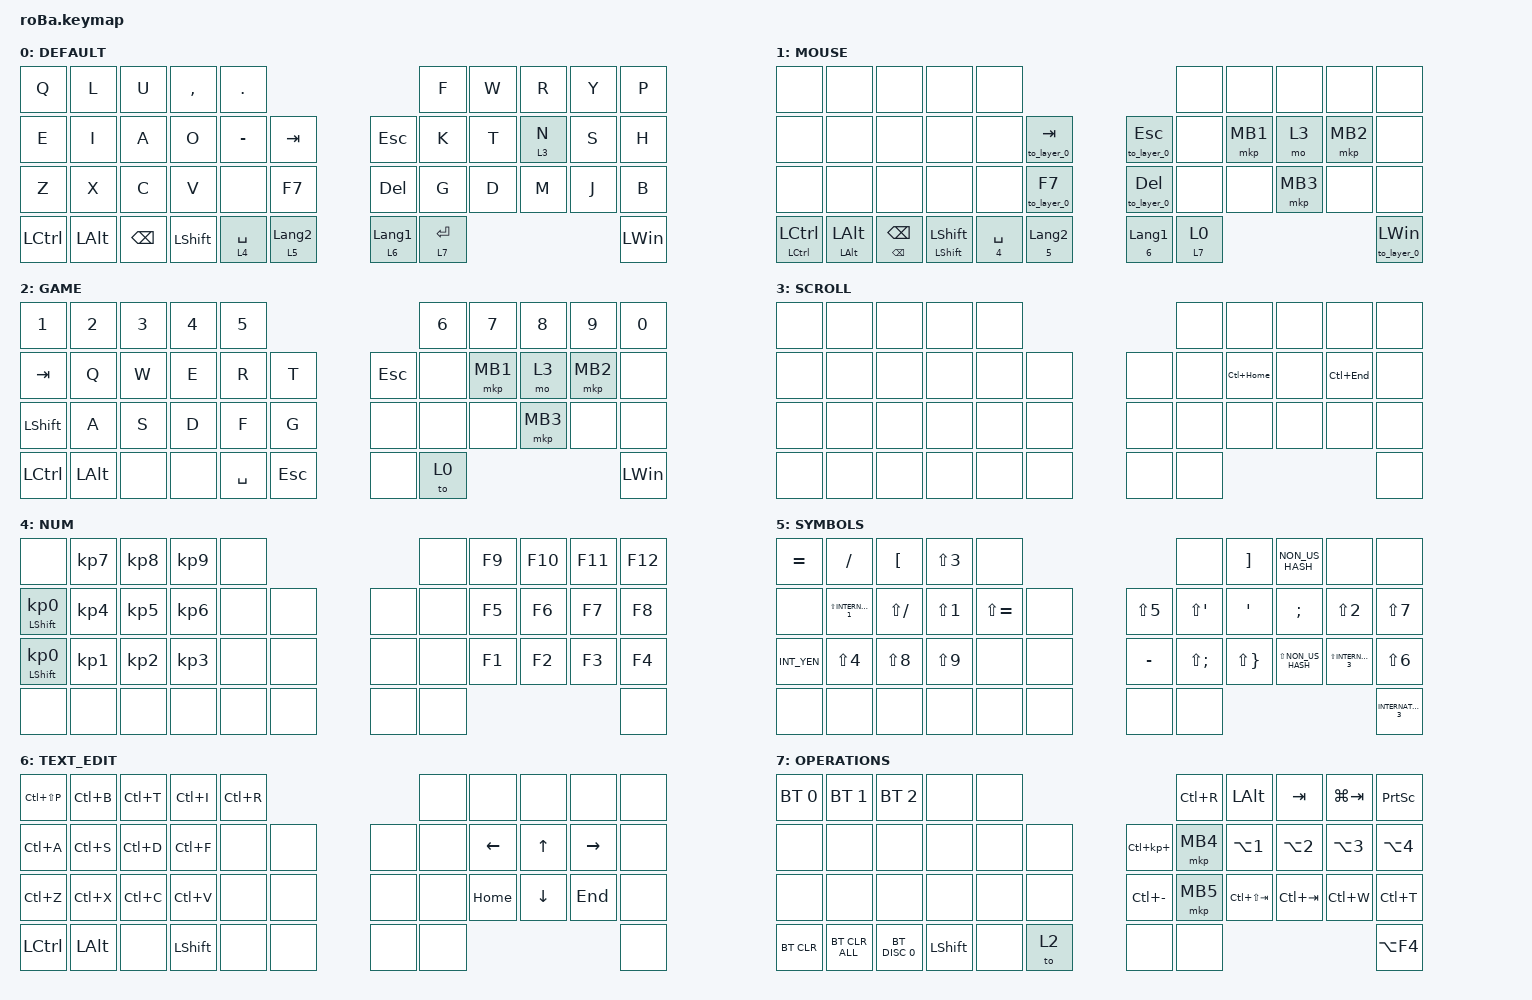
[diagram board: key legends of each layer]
#include <behaviors.dtsi>
#include <dt-bindings/zmk/bt.h>
#include <dt-bindings/zmk/keys.h>
#include <dt-bindings/zmk/pointing.h>

&mt {
    flavor = "balanced";
    quick-tap-ms = <0>;
};

&sl { release-after-ms = <150>; };

&trackball {
    automouse-layer = <1>;
    scroll-layers = <3>;
};

/ {
    combos { compatible = "zmk,combos"; };

    macros {
        to_layer_0: to_layer_0 {
            compatible = "zmk,behavior-macro-one-param";
            #binding-cells = <1>;
            bindings = <&to 0 &macro_param_1to1 &kp MACRO_PLACEHOLDER>;
            label = "TO_LAYER_0";
        };

        hold_key_to0: hold_key_to0 {
            compatible = "zmk,behavior-macro-one-param";
            #binding-cells = <1>;
            bindings =
                <&macro_press>,
                <&macro_param_1to1 &kp MACRO_PLACEHOLDER>,
                <&macro_pause_for_release>,
                <&macro_release>,
                <&macro_param_1to1 &kp MACRO_PLACEHOLDER &to 0>;

            label = "HOLD_KEY_TO0";
        };

        to_layer_and_back_to0: to_layer_and_back_to0 {
            compatible = "zmk,behavior-macro-two-param";
            #binding-cells = <2>;
            bindings =
                <&macro_param_1to1 &to MACRO_PLACEHOLDER>,
                <&macro_pause_for_release>,
                <&to 0>;
            label = "TO_LAYER_AND_BACK_TO0";
        };
    };

    behaviors {
        lt_to_layer_0: lt_to_layer_0 {
            compatible = "zmk,behavior-hold-tap";
            label = "LAYER_TAP_TO_0";
            bindings = <&mo>, <&to_layer_0>;

            #binding-cells = <2>;
            tapping-term-ms = <150>;
        };

        mt_to0: mt_to0 {
            compatible = "zmk,behavior-hold-tap";
            label = "MT_TO0";
            bindings = <&hold_key_to0>, <&to_layer_0>;

            #binding-cells = <2>;
            tapping-term-ms = <150>;
        };

        lt_mo_to: lt_mo_to {
            compatible = "zmk,behavior-hold-tap";
            label = "LT_MO_TO";
            bindings = <&mo>, <&to>;

            #binding-cells = <2>;
            tapping-term-ms = <150>;
        };

        lt_to_to0: lt_to_to0 {
            compatible = "zmk,behavior-hold-tap";
            label = "LT_TO_TO0";
            bindings = <&to_layer_and_back_to0>, <&to_layer_0>;

            #binding-cells = <2>;
            tapping-term-ms = <150>;
        };
    };

    keymap {
        compatible = "zmk,keymap";

        DEFAULT {
            bindings = <
&kp Q      &kp L         &kp U          &kp COMMA       &kp PERIOD                                                                            &kp F                   &kp W  &kp R               &kp Y  &kp P
&kp E      &kp I         &kp A          &kp O           &kp MINUS               &kp TAB                          &kp ESCAPE                   &kp K                   &kp T  &lt_to_layer_0 3 N  &kp S  &kp H
&kp Z      &kp X         &kp C          &kp V           &none                   &kp F7                           &kp DELETE                   &kp G                   &kp D  &kp M               &kp J  &kp B
&kp LCTRL  &kp LEFT_ALT  &kp BACKSPACE  &kp LEFT_SHIFT  &lt_to_layer_0 4 SPACE  &lt_to_layer_0 5 LANGUAGE_2      &lt_to_layer_0 6 LANGUAGE_1  &lt_to_layer_0 7 ENTER                                    &kp LEFT_WIN
            >;
        };

        MOUSE {
            bindings = <
&none                &none                      &none                        &none                          &none                                                                                 &none          &none     &none     &none     &none
&none                &none                      &none                        &none                          &none                   &to_layer_0 TAB                  &to_layer_0 ESCAPE           &none          &mkp MB1  &mo 3     &mkp MB2  &none
&none                &none                      &none                        &none                          &none                   &to_layer_0 F7                   &to_layer_0 DEL              &none          &none     &mkp MB3  &none     &none
&mt_to0 LCTRL LCTRL  &mt_to0 LEFT_ALT LEFT_ALT  &mt_to0 BACKSPACE BACKSPACE  &mt_to0 LEFT_SHIFT LEFT_SHIFT  &lt_to_to0 4 SPACE  &lt_to_to0 5 LANGUAGE_2      &lt_to_to0 6 LANGUAGE_1  &lt_mo_to 7 0                                &to_layer_0 LEFT_WIN
            >;
        };

        GAME {
            bindings = <
&kp N1     &kp N2        &kp N3  &kp N4  &kp N5                              &kp N6  &kp N7    &kp N8    &kp N9    &kp N0
&kp TAB    &kp Q         &kp W   &kp E   &kp R      &kp T        &kp ESCAPE  &none   &mkp MB1  &mo 3     &mkp MB2  &none
&kp LSHFT  &kp A         &kp S   &kp D   &kp F      &kp G        &none       &none   &none     &mkp MB3  &none     &none
&kp LCTRL  &kp LEFT_ALT  &none   &none   &kp SPACE  &kp ESC      &none       &to 0                                 &kp LEFT_WIN
            >;
        };

        SCROLL {
            bindings = <
&none  &none  &none  &none  &none                    &none  &none         &none  &none        &none
&none  &none  &none  &none  &none  &none      &none  &none  &kp LC(HOME)  &none  &kp LC(END)  &none
&none  &none  &none  &none  &none  &none      &none  &none  &none         &none  &none        &none
&none  &none  &none  &none  &none  &none      &none  &none                                    &none
            >;
        };

        NUM {
            bindings = <
&none                       &kp KP_NUMBER_7  &kp KP_NUMBER_8  &kp KP_NUMBER_9  &none                    &none  &kp F9  &kp F10  &kp F11  &kp F12
&mt LEFT_SHIFT KP_NUMBER_0  &kp KP_NUMBER_4  &kp KP_NUMBER_5  &kp KP_NUMBER_6  &none  &none      &none  &none  &kp F5  &kp F6   &kp F7   &kp F8
&mt LEFT_SHIFT KP_NUMBER_0  &kp KP_NUMBER_1  &kp KP_NUMBER_2  &kp KP_NUMBER_3  &none  &none      &none  &none  &kp F1  &kp F2   &kp F3   &kp F4
&none                       &none            &none            &none            &none  &none      &none  &none                            &none
            >;
        };

        SYMBOLS {
            bindings = <
&kp EQUAL    &kp SLASH                &kp LEFT_BRACKET  &kp LS(NUMBER_3)  &none                                       &none                 &kp RIGHT_BRACKET    &kp NON_US_HASH      &none                    &none
&none        &kp LS(INTERNATIONAL_1)  &kp LS(SLASH)     &kp LS(NUMBER_1)  &kp LS(EQUAL)  &none      &kp LS(NUMBER_5)  &kp LS(SINGLE_QUOTE)  &kp SQT              &kp SEMICOLON        &kp LS(N2)               &kp LS(N7)
&kp INT_YEN  &kp LS(NUMBER_4)         &kp LS(NUMBER_8)  &kp LS(N9)        &none          &none      &kp MINUS         &kp LS(SEMI)          &kp LS(RIGHT_BRACE)  &kp LS(NON_US_HASH)  &kp LS(INTERNATIONAL_3)  &kp LS(NUMBER_6)
&none        &none                    &none             &none             &none          &none      &none             &none                                                                                    &kp INTERNATIONAL_3
            >;
        };

        TEXT_EDIT {
            bindings = <
&kp LC(LS(P))  &kp LC(B)     &kp LC(T)  &kp LC(I)       &kp LC(R)                    &none  &none     &none         &none      &none
&kp LC(A)      &kp LC(S)     &kp LC(D)  &kp LC(F)       &none      &none      &none  &none  &kp LEFT  &kp UP_ARROW  &kp RIGHT  &none
&kp LC(Z)      &kp LC(X)     &kp LC(C)  &kp LC(V)       &none      &none      &none  &none  &kp HOME  &kp DOWN      &kp END    &none
&kp LCTRL      &kp LEFT_ALT  &none      &kp LEFT_SHIFT  &none      &none      &none  &none                                     &none
            >;
        };

        OPERATIONS {
            bindings = <
&bt BT_SEL 0  &bt BT_SEL 1    &bt BT_SEL 2   &none           &none                              &kp LC(R)  &kp LEFT_ALT      &kp TAB           &kp LG(TAB)       &kp PRINTSCREEN
&none         &none           &none          &none           &none  &none      &kp LC(KP_PLUS)  &mkp MB4   &kp LA(NUMBER_1)  &kp LA(NUMBER_2)  &kp LA(NUMBER_3)  &kp LA(NUMBER_4)
&none         &none           &none          &none           &none  &none      &kp LC(MINUS)    &mkp MB5   &kp LC(LS(TAB))   &kp LC(TAB)       &kp LC(W)         &kp LC(T)
&bt BT_CLR    &bt BT_CLR_ALL  &bt BT_DISC 0  &kp LEFT_SHIFT  &none  &to 2      &none            &none                                                            &kp LA(F4)
            >;
        };
    };
};
